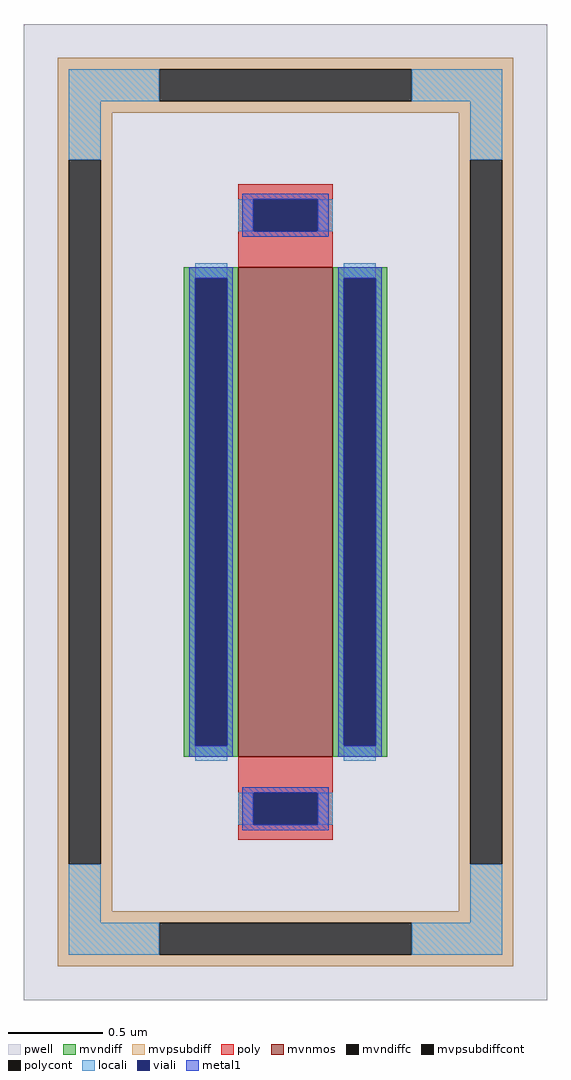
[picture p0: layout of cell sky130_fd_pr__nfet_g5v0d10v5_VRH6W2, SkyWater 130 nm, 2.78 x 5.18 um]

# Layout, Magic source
magic
tech sky130A
<< pwell >>
rect -139 -259 139 259
<< mvnmos >>
rect -25 -130 25 130
<< mvndiff >>
rect -54 124 -25 130
rect -54 -124 -48 124
rect -31 -124 -25 124
rect -54 -130 -25 -124
rect 25 124 54 130
rect 25 -124 31 124
rect 48 -124 54 124
rect 25 -130 54 -124
<< mvndiffc >>
rect -48 -124 -31 124
rect 31 -124 48 124
<< mvpsubdiff >>
rect -121 235 121 241
rect -121 218 -67 235
rect 67 218 121 235
rect -121 212 121 218
rect -121 187 -92 212
rect -121 -187 -115 187
rect -98 -187 -92 187
rect 92 187 121 212
rect -121 -212 -92 -187
rect 92 -187 98 187
rect 115 -187 121 187
rect 92 -212 121 -187
rect -121 -218 121 -212
rect -121 -235 -67 -218
rect 67 -235 121 -218
rect -121 -241 121 -235
<< mvpsubdiffcont >>
rect -67 218 67 235
rect -115 -187 -98 187
rect 98 -187 115 187
rect -67 -235 67 -218
<< poly >>
rect -25 166 25 174
rect -25 149 -17 166
rect 17 149 25 166
rect -25 130 25 149
rect -25 -149 25 -130
rect -25 -166 -17 -149
rect 17 -166 25 -149
rect -25 -174 25 -166
<< polycont >>
rect -17 149 17 166
rect -17 -166 17 -149
<< locali >>
rect -115 218 -67 235
rect 67 218 115 235
rect -115 187 -98 218
rect 98 187 115 218
rect -25 149 -17 166
rect 17 149 25 166
rect -48 124 -31 132
rect -48 -132 -31 -124
rect 31 124 48 132
rect 31 -132 48 -124
rect -25 -166 -17 -149
rect 17 -166 25 -149
rect -115 -218 -98 -187
rect 98 -218 115 -187
rect -115 -235 -67 -218
rect 67 -235 115 -218
<< viali >>
rect -17 149 17 166
rect -48 -124 -31 124
rect 31 -124 48 124
rect -17 -166 17 -149
<< metal1 >>
rect -23 166 23 169
rect -23 149 -17 166
rect 17 149 23 166
rect -23 146 23 149
rect -51 124 -28 130
rect -51 -124 -48 124
rect -31 -124 -28 124
rect -51 -130 -28 -124
rect 28 124 51 130
rect 28 -124 31 124
rect 48 -124 51 124
rect 28 -130 51 -124
rect -23 -149 23 -146
rect -23 -166 -17 -149
rect 17 -166 23 -149
rect -23 -169 23 -166
<< properties >>
string FIXED_BBOX -106 -226 106 226
string gencell sky130_fd_pr__nfet_g5v0d10v5
string library sky130
string parameters w 2.6 l 0.5 m 1 nf 1 diffcov 100 polycov 100 guard 1 glc 1 grc 1 gtc 1 gbc 1 tbcov 100 rlcov 100 topc 1 botc 1 poverlap 0 doverlap 1 lmin 0.50 wmin 0.42 class mosfet compatible {sky130_fd_pr__nfet_01v8 sky130_fd_pr__nfet_01v8_lvt  sky130_fd_bs_flash__special_sonosfet_star  sky130_fd_pr__nfet_g5v0d10v5 sky130_fd_pr__nfet_05v0_nvt  sky130_fd_pr__nfet_03v3_nvt} full_metal 1 viasrc 100 viadrn 100 viagate 100 viagb 0 viagr 0 viagl 0 viagt 0
<< end >>
